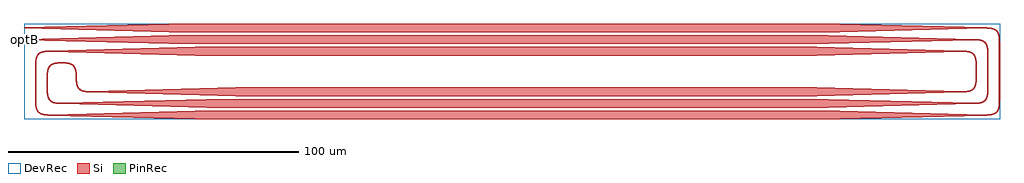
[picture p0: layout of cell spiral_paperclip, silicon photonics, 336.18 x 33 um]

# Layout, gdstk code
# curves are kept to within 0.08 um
import gdstk
lib = gdstk.Library(unit=1e-6, precision=1e-09)
def R(c, l, rs):  # rectangles x0, y0, x1, y1
    for r in rs: c.add(gdstk.rectangle(r[:2], r[2:], *l))
def P(c, l, *ps):  # polygons
    for p in ps: c.add(gdstk.Polygon(p, *l))
Si = (1, 0)
PinRec = (1, 10)
DevRec = (68, 0)

spiral_paperclip = lib.new_cell('spiral_paperclip')
R(spiral_paperclip, Si, [(-109,-14.5,113,-11.5), (-105,-10.5,109,-7.5), (-95,-6.5,105,-3.5), (-109,7.5,105,10.5), (-118,11.5,109,14.5), (-118,15.5,113,18.5)])
P(spiral_paperclip, Si, [(113,-14.5),(113,-11.5),(163,-12.825),(163,-13.175)],
  [(109,-10.5),(109,-7.5),(159,-8.825),(159,-9.175)],
  [(105,-6.5),(105,-3.5),(155,-4.825),(155,-5.175)],
  [(105,7.5),(105,10.5),(155,9.175),(155,8.825)],
  [(109,11.5),(109,14.5),(159,13.175),(159,12.825)],
  [(113,15.5),(113,18.5),(163,17.175),(163,16.825)],
  [(-109,-14.5),(-159,-13.175),(-159,-12.825),(-109,-11.5)],
  [(-105,-10.5),(-155,-9.175),(-155,-8.825),(-105,-7.5)],
  [(-95,-6.5),(-145,-5.175),(-145,-4.825),(-95,-3.5)],
  [(-109,7.5),(-159,8.825),(-159,9.175),(-109,10.5)],
  [(-118,11.5),(-168,12.825),(-168,13.175),(-118,14.5)],
  [(-118,15.5),(-168,16.825),(-168,17.175),(-118,18.5)],
  [(-159,-13.175),(-160.425,-13.119),(-161.585,-12.933),(-162.39,-12.643),(-163.033,-12.211),(-163.517,-11.621),(-163.852,-10.87),(-164.058,-9.952),(-164.166,-8.645),(-164.17,4.436),(-164.101,5.606),(-163.933,6.585),(-163.701,7.267),(-163.446,7.731),(-163.032,8.212),(-162.621,8.517),(-162.007,8.806),(-161.433,8.97),(-160.605,9.102),(-159.645,9.166),(-159,9.175),(-159,8.825),(-160.211,8.786),(-161.211,8.658),(-162.009,8.431),(-162.534,8.157),(-162.876,7.876),(-163.216,7.44),(-163.43,7.01),(-163.627,6.358),(-163.771,5.393),(-163.823,4.218),(-163.816,-8.633),(-163.712,-9.9),(-163.518,-10.764),(-163.217,-11.439),(-162.797,-11.951),(-162.125,-12.381),(-161.358,-12.627),(-160.393,-12.771),(-159,-12.825)],
  [(163,-13.175),(163,-12.825),(164.392,-12.772),(165.498,-12.594),(166.339,-12.276),(166.951,-11.797),(167.381,-11.125),(167.627,-10.358),(167.771,-9.393),(167.825,-8),(167.824,12.217),(167.772,13.392),(167.658,14.211),(167.476,14.889),(167.276,15.339),(166.952,15.796),(166.535,16.156),(166.01,16.43),(165.212,16.657),(164.212,16.785),(163,16.825),(163,17.175),(164.425,17.119),(165.585,16.933),(166.508,16.581),(167.124,16.124),(167.582,15.507),(167.934,14.584),(168.12,13.424),(168.175,12),(168.173,-8.222),(168.119,-9.425),(167.969,-10.434),(167.754,-11.14),(167.446,-11.731),(167.032,-12.212),(166.507,-12.582),(165.87,-12.852),(165.117,-13.031),(164.237,-13.136)],
  [(155,-5.175),(155,-4.825),(156.211,-4.786),(157.211,-4.658),(158.009,-4.431),(158.627,-4.091),(159.023,-3.715),(159.381,-3.125),(159.593,-2.499),(159.733,-1.738),(159.82,-0.43),(159.821,4.429),(159.734,5.737),(159.558,6.633),(159.33,7.233),(159.024,7.714),(158.715,8.023),(158.234,8.329),(157.634,8.557),(156.901,8.711),(155,8.825),(155,9.175),(156.782,9.081),(158.008,8.805),(158.836,8.372),(159.212,8.032),(159.447,7.73),(159.852,6.87),(160.058,5.952),(160.166,4.645),(160.173,-0.222),(160.081,-1.782),(159.933,-2.585),(159.643,-3.39),(159.211,-4.033),(158.73,-4.447),(158.007,-4.806),(157.277,-5.002),(156.237,-5.136)],
  [(159,-9.175),(159,-8.825),(160.393,-8.771),(161.358,-8.627),(162.125,-8.381),(162.797,-7.951),(163.217,-7.439),(163.518,-6.764),(163.712,-5.9),(163.816,-4.633),(163.823,8.218),(163.771,9.393),(163.627,10.358),(163.43,11.01),(163.216,11.44),(162.876,11.876),(162.534,12.157),(162.009,12.431),(161.211,12.658),(160.211,12.786),(159,12.825),(159,13.175),(159.645,13.166),(160.605,13.102),(161.433,12.97),(162.007,12.806),(162.621,12.517),(163.032,12.212),(163.446,11.731),(163.701,11.267),(163.933,10.585),(164.101,9.606),(164.17,8.436),(164.166,-4.645),(164.058,-5.952),(163.852,-6.87),(163.517,-7.621),(163.033,-8.211),(162.39,-8.643),(161.585,-8.933),(160.425,-9.119)],
  [(-155,-9.175),(-156.781,-9.082),(-157.584,-8.934),(-158.139,-8.755),(-158.621,-8.517),(-159.032,-8.212),(-159.372,-7.836),(-159.701,-7.267),(-160.001,-6.278),(-160.157,-4.849),(-160.174,0.221),(-160.082,1.781),(-159.852,2.87),(-159.517,3.621),(-159.033,4.211),(-158.39,4.643),(-157.434,4.969),(-156.238,5.135),(-154.565,5.171),(-153.219,5.082),(-152.13,4.852),(-151.379,4.517),(-150.789,4.033),(-150.357,3.39),(-150.067,2.585),(-149.919,1.782),(-149.843,0.849),(-149.798,-1.025),(-149.687,-2.057),(-149.431,-3.009),(-149.024,-3.714),(-148.44,-4.216),(-147.634,-4.557),(-146.393,-4.771),(-145,-4.825),(-145,-5.175),(-146.606,-5.101),(-147.871,-4.851),(-148.39,-4.643),(-148.836,-4.372),(-149.212,-4.032),(-149.447,-3.73),(-149.806,-3.007),(-150.058,-1.952),(-150.148,-1.045),(-150.229,1.393),(-150.407,2.499),(-150.57,3.01),(-150.784,3.44),(-151.049,3.797),(-151.373,4.091),(-151.876,4.382),(-152.502,4.594),(-153.263,4.734),(-154.168,4.808),(-156.393,4.771),(-157.358,4.627),(-158.01,4.43),(-158.715,4.023),(-159.157,3.534),(-159.476,2.889),(-159.712,1.9),(-159.821,0.429),(-159.823,-4.218),(-159.771,-5.393),(-159.627,-6.358),(-159.43,-7.01),(-159.156,-7.535),(-158.876,-7.876),(-158.439,-8.217),(-157.889,-8.476),(-157.057,-8.687),(-156.211,-8.786),(-155,-8.825)])
R(spiral_paperclip, DevRec, [(-168,-14.5,168.175,18.5)])
spiral_paperclip.add(gdstk.FlexPath([(-167.99,13),(-168.01,13)], 0.35, ends="flush", simple_path=True, layer=1, datatype=10))  # PinRec
spiral_paperclip.add(gdstk.FlexPath([(-167.99,17),(-168.01,17)], 0.35, ends="flush", simple_path=True, layer=1, datatype=10))  # PinRec
spiral_paperclip.add(gdstk.Label('optB', (-168,13), layer=1, texttype=10))
spiral_paperclip.add(gdstk.Label('optA', (-168,17), layer=1, texttype=10))

lib.write_gds('spiral_paperclip.gds')
